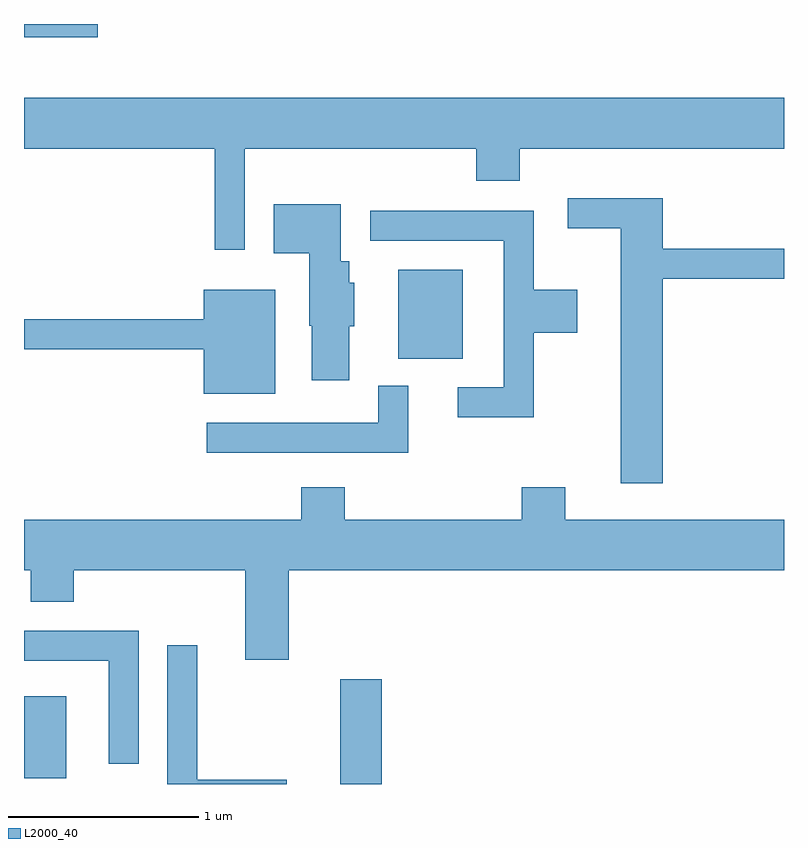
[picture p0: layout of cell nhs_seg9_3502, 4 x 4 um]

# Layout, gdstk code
import gdstk
lib = gdstk.Library(unit=1e-6, precision=1e-09)
def R(c, l, rs):  # rectangles x0, y0, x1, y1
    for r in rs: c.add(gdstk.rectangle(r[:2], r[2:], *l))
def P(c, l, *ps):  # polygons
    for p in ps: c.add(gdstk.Polygon(p, *l))
L2000_40 = (2000, 40)

nhs_seg9_3502 = lib.new_cell('nhs_seg9_3502')
R(nhs_seg9_3502, L2000_40, [(289.276,2028.432,289.494,2028.984), (287.611,2028.461,287.834,2028.894), (289.581,2030.671,289.919,2031.139), (287.611,2032.361,287.998,2032.432)])
P(nhs_seg9_3502, L2000_40, [(288.774,2031.776),(289.991,2031.776),(289.991,2031.606),(290.219,2031.606),(290.219,2031.776),(291.611,2031.776),(291.611,2032.044),(287.611,2032.044),(287.611,2031.776),(288.616,2031.776),(288.616,2031.243),(288.774,2031.243)],
  [(290.974,2031.091),(291.611,2031.091),(291.611,2031.249),(290.974,2031.249),(290.974,2031.514),(290.473,2031.514),(290.473,2031.356),(290.751,2031.356),(290.751,2030.016),(290.974,2030.016)],
  [(289.324,2030.841),(289.349,2030.841),(289.349,2031.069),(289.324,2031.069),(289.324,2031.184),(289.279,2031.184),(289.279,2031.484),(288.926,2031.484),(288.926,2031.226),(289.111,2031.226),(289.111,2030.845),(289.126,2030.845),(289.126,2030.556),(289.324,2030.556)],
  [(290.294,2030.806),(290.524,2030.806),(290.524,2031.034),(290.294,2031.034),(290.294,2031.449),(289.433,2031.449),(289.433,2031.291),(290.136,2031.291),(290.136,2030.519),(289.893,2030.519),(289.893,2030.361),(290.294,2030.361)],
  [(288.934,2031.034),(288.556,2031.034),(288.556,2030.879),(287.611,2030.879),(287.611,2030.721),(288.556,2030.721),(288.556,2030.486),(288.934,2030.486)],
  [(289.634,2030.528),(289.476,2030.528),(289.476,2030.334),(288.573,2030.334),(288.573,2030.176),(289.634,2030.176)],
  [(289.004,2029.556),(291.611,2029.556),(291.611,2029.824),(290.459,2029.824),(290.459,2029.994),(290.231,2029.994),(290.231,2029.824),(289.299,2029.824),(289.299,2029.994),(289.071,2029.994),(289.071,2029.824),(287.611,2029.824),(287.611,2029.556),(287.646,2029.556),(287.646,2029.391),(287.874,2029.391),(287.874,2029.556),(288.776,2029.556),(288.776,2029.086),(289.004,2029.086)],
  [(288.214,2029.239),(287.611,2029.239),(287.611,2029.081),(288.056,2029.081),(288.056,2028.538),(288.214,2028.538)],
  [(288.994,2028.454),(288.524,2028.454),(288.524,2029.163),(288.366,2029.163),(288.366,2028.432),(288.994,2028.432)])

lib.write_gds('nhs_seg9_3502.gds')
